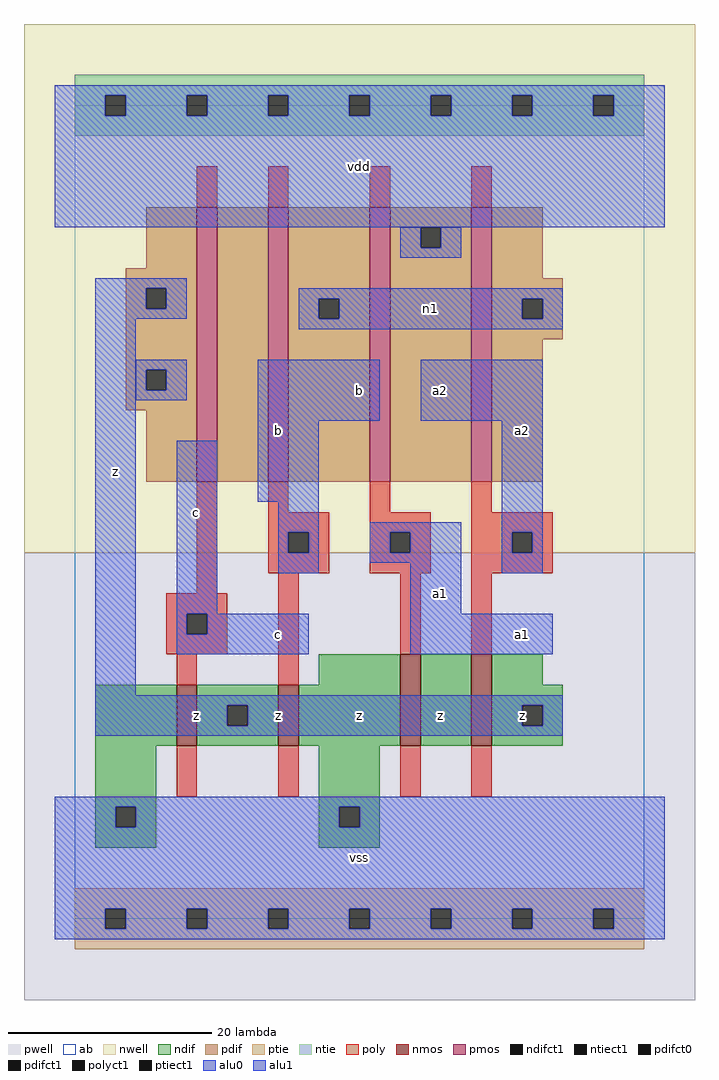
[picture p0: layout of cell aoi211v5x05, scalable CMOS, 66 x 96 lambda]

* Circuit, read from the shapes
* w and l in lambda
.subckt aoi211v5x05 a1 a2 b c n1 vdd vss z
M1 z c vss vss nfet w=6 l=2
M2 vss b z vss nfet w=6 l=2
M3 n2 a1 vss vss nfet w=9 l=2
M4 z a2 n2 vss nfet w=9 l=2
M5 n3 c z vdd pfet w=27 l=2
M6 n1 b n3 vdd pfet w=27 l=2
M7 vdd a1 n1 vdd pfet w=27 l=2
M8 n1 a2 vdd vdd pfet w=27 l=2
.ends

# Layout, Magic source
magic
tech scmos
<< ab >>
rect 0 0 56 80
<< nwell >>
rect -5 36 61 88
<< pwell >>
rect -5 -8 61 36
<< poly >>
rect 12 70 14 74
rect 19 70 21 74
rect 29 70 31 74
rect 39 70 41 74
rect 12 32 14 43
rect 19 40 21 43
rect 29 40 31 43
rect 39 40 41 43
rect 19 38 25 40
rect 19 36 21 38
rect 23 36 25 38
rect 19 34 25 36
rect 29 38 35 40
rect 29 36 31 38
rect 33 36 35 38
rect 29 34 35 36
rect 39 38 47 40
rect 39 36 43 38
rect 45 36 47 38
rect 39 34 47 36
rect 9 30 15 32
rect 9 28 11 30
rect 13 28 15 30
rect 9 26 15 28
rect 10 23 12 26
rect 20 23 22 34
rect 32 26 34 34
rect 39 26 41 34
rect 10 12 12 17
rect 20 12 22 17
rect 32 12 34 17
rect 39 12 41 17
<< ndif >>
rect 24 23 32 26
rect 2 17 10 23
rect 12 21 20 23
rect 12 19 15 21
rect 17 19 20 21
rect 12 17 20 19
rect 22 17 32 23
rect 34 17 39 26
rect 41 23 46 26
rect 41 21 48 23
rect 41 19 44 21
rect 46 19 48 21
rect 41 17 48 19
rect 2 11 8 17
rect 2 9 4 11
rect 6 9 8 11
rect 2 7 8 9
rect 24 11 30 17
rect 24 9 26 11
rect 28 9 30 11
rect 24 7 30 9
<< pdif >>
rect 7 64 12 70
rect 5 62 12 64
rect 5 60 7 62
rect 9 60 12 62
rect 5 54 12 60
rect 5 52 7 54
rect 9 52 12 54
rect 5 50 12 52
rect 7 43 12 50
rect 14 43 19 70
rect 21 61 29 70
rect 21 59 24 61
rect 26 59 29 61
rect 21 43 29 59
rect 31 68 39 70
rect 31 66 34 68
rect 36 66 39 68
rect 31 43 39 66
rect 41 63 46 70
rect 41 61 48 63
rect 41 59 44 61
rect 46 59 48 61
rect 41 57 48 59
rect 41 43 46 57
<< alu1 >>
rect -2 81 58 82
rect -2 79 3 81
rect 5 79 11 81
rect 13 79 19 81
rect 21 79 27 81
rect 29 79 35 81
rect 37 79 43 81
rect 45 79 51 81
rect 53 79 58 81
rect -2 68 58 79
rect 2 62 11 63
rect 2 60 7 62
rect 9 60 11 62
rect 2 59 11 60
rect 2 22 6 59
rect 18 49 30 55
rect 34 49 46 55
rect 10 30 14 47
rect 18 41 24 49
rect 20 38 24 41
rect 20 36 21 38
rect 23 36 24 38
rect 20 34 24 36
rect 29 38 38 39
rect 29 36 31 38
rect 33 36 38 38
rect 29 35 38 36
rect 33 30 38 35
rect 42 38 46 49
rect 42 36 43 38
rect 45 36 46 38
rect 42 34 46 36
rect 10 28 11 30
rect 13 28 23 30
rect 10 26 23 28
rect 33 26 47 30
rect 2 21 48 22
rect 2 19 15 21
rect 17 19 44 21
rect 46 19 48 21
rect 2 18 48 19
rect -2 11 58 12
rect -2 9 4 11
rect 6 9 26 11
rect 28 9 58 11
rect -2 1 58 9
rect -2 -1 3 1
rect 5 -1 11 1
rect 13 -1 19 1
rect 21 -1 27 1
rect 29 -1 35 1
rect 37 -1 43 1
rect 45 -1 51 1
rect 53 -1 58 1
rect -2 -2 58 -1
<< ptie >>
rect 0 1 56 3
rect 0 -1 3 1
rect 5 -1 11 1
rect 13 -1 19 1
rect 21 -1 27 1
rect 29 -1 35 1
rect 37 -1 43 1
rect 45 -1 51 1
rect 53 -1 56 1
rect 0 -3 56 -1
<< ntie >>
rect 0 81 56 83
rect 0 79 3 81
rect 5 79 11 81
rect 13 79 19 81
rect 21 79 27 81
rect 29 79 35 81
rect 37 79 43 81
rect 45 79 51 81
rect 53 79 56 81
rect 0 77 56 79
<< nmos >>
rect 10 17 12 23
rect 20 17 22 23
rect 32 17 34 26
rect 39 17 41 26
<< pmos >>
rect 12 43 14 70
rect 19 43 21 70
rect 29 43 31 70
rect 39 43 41 70
<< polyct1 >>
rect 21 36 23 38
rect 31 36 33 38
rect 43 36 45 38
rect 11 28 13 30
<< ndifct1 >>
rect 15 19 17 21
rect 44 19 46 21
rect 4 9 6 11
rect 26 9 28 11
<< ntiect1 >>
rect 3 79 5 81
rect 11 79 13 81
rect 19 79 21 81
rect 27 79 29 81
rect 35 79 37 81
rect 43 79 45 81
rect 51 79 53 81
<< ptiect1 >>
rect 3 -1 5 1
rect 11 -1 13 1
rect 19 -1 21 1
rect 27 -1 29 1
rect 35 -1 37 1
rect 43 -1 45 1
rect 51 -1 53 1
<< pdifct0 >>
rect 7 52 9 54
rect 24 59 26 61
rect 34 66 36 68
rect 44 59 46 61
<< pdifct1 >>
rect 7 60 9 62
<< alu0 >>
rect 32 66 34 68
rect 36 66 38 68
rect 32 65 38 66
rect 22 61 48 62
rect 22 59 24 61
rect 26 59 44 61
rect 46 59 48 61
rect 22 58 48 59
rect 6 54 11 55
rect 6 52 7 54
rect 9 52 11 54
rect 6 51 11 52
<< labels >>
rlabel alu0 35 60 35 60 6 n1
rlabel alu1 4 44 4 44 6 z
rlabel alu1 20 20 20 20 6 z
rlabel alu1 12 20 12 20 6 z
rlabel alu1 20 28 20 28 6 c
rlabel alu1 12 40 12 40 6 c
rlabel alu1 20 48 20 48 6 b
rlabel alu1 28 6 28 6 6 vss
rlabel alu1 36 20 36 20 6 z
rlabel alu1 28 20 28 20 6 z
rlabel alu1 36 32 36 32 6 a1
rlabel alu1 28 52 28 52 6 b
rlabel alu1 36 52 36 52 6 a2
rlabel alu1 28 74 28 74 6 vdd
rlabel alu1 44 20 44 20 6 z
rlabel alu1 44 28 44 28 6 a1
rlabel alu1 44 48 44 48 6 a2
<< end >>
